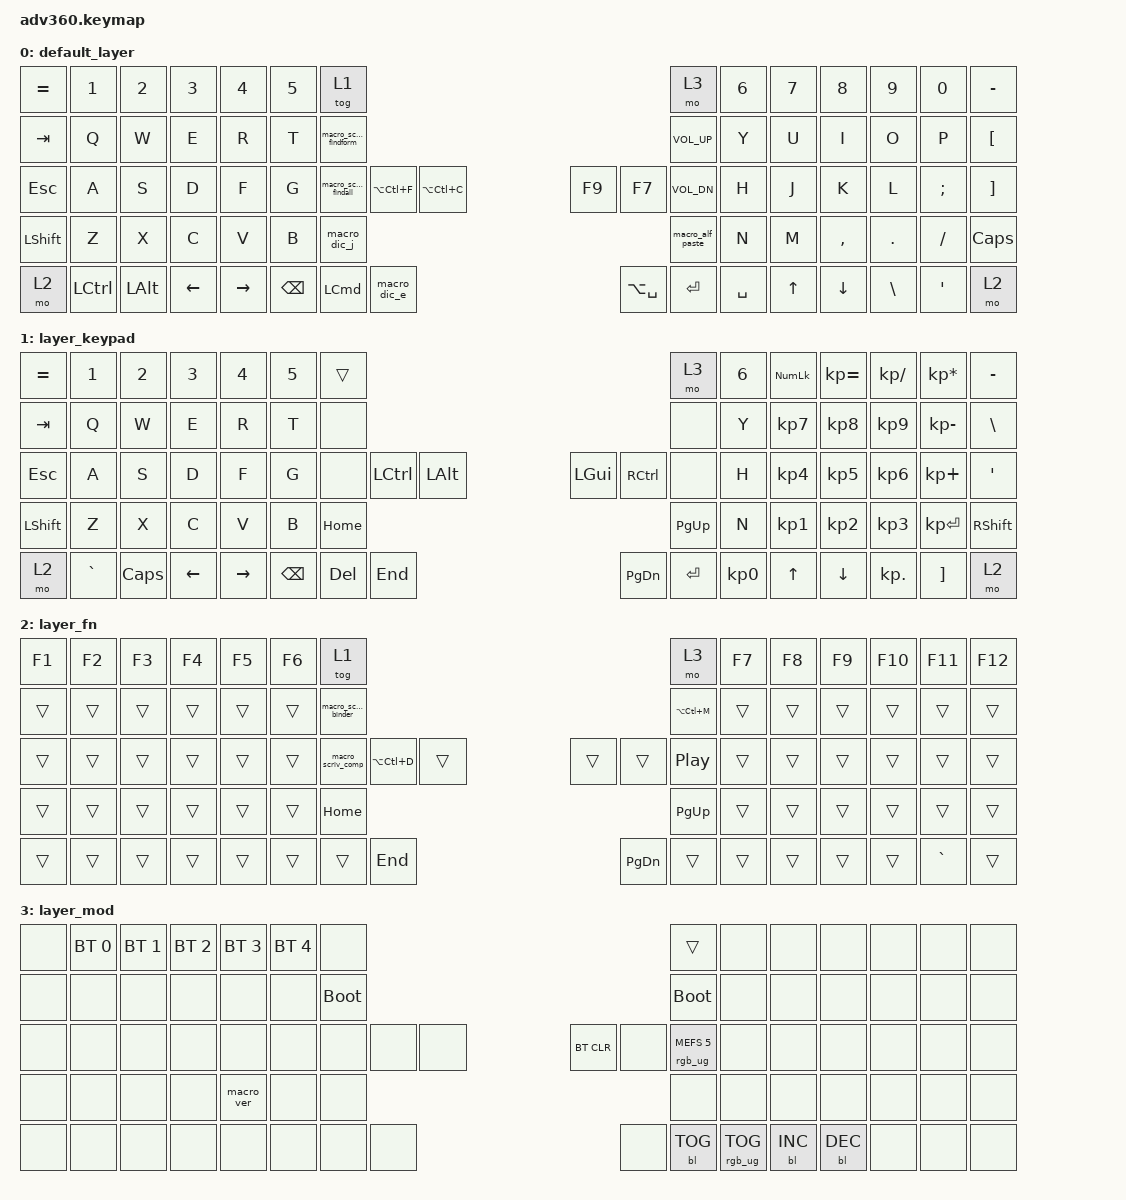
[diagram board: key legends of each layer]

/*
 * Copyright (c) 2020 The ZMK Contributors
 *
 * SPDX-License-Identifier: MIT
 */


/* THIS FILE WAS GENERATED!
 *
 * This file was generated automatically. You may or may not want to
 * edit it directly.
 */

#include <behaviors.dtsi>
#include <dt-bindings/zmk/keys.h>
#include <dt-bindings/zmk/bt.h>
#include <dt-bindings/zmk/rgb.h>
#include <dt-bindings/zmk/backlight.h>

/ {
  behaviors {
    #include "macros.dtsi"
    #include "version.dtsi"

    hm: homerow_mods {
        compatible = "zmk,behavior-hold-tap";
        label = "HOMEROW_MODS";
        #binding-cells = <2>;
        tapping-term-ms = <200>;
        quick_tap_ms = <175>;
        flavor = "tap-preferred";
        bindings = <&kp>, <&kp>;
    };
  };

    keymap {
        compatible = "zmk,keymap";


        default_layer {
            bindings = <
 &kp EQUAL            &kp N1        &kp N2    &kp N3     &kp N4  &kp N5                           &tog 1                                                                                       &mo 3  &kp N6  &kp N7     &kp N8         &kp N9            &kp N0          &kp MINUS
   &kp TAB             &kp Q         &kp W     &kp E      &kp R   &kp T            &macro_scriv_findform                                                                                &kp C_VOL_UP   &kp Y   &kp U      &kp I          &kp O             &kp P   &kp LEFT_BRACKET
   &kp ESC             &kp A         &kp S     &kp D      &kp F   &kp G             &macro_scriv_findall     &kp LA(LC(F))  &kp LA(LC(C))                            &kp F9     &kp F7  &kp C_VOL_DN   &kp H   &kp J      &kp K          &kp L          &kp SEMI  &kp RIGHT_BRACKET
 &kp LSHFT             &kp Z         &kp X     &kp C      &kp V   &kp B                                                      &macro_dic_j                  &macro_alf_paste                            &kp N   &kp M  &kp COMMA        &kp DOT          &kp FSLH           &kp CAPS
     &mo 2  &kp LEFT_CONTROL  &kp LEFT_ALT  &kp LEFT  &kp RIGHT                                 &kp BSPC  &kp LEFT_COMMAND   &macro_dic_e                     &kp LA(SPACE)  &kp ENTER     &kp SPACE          &kp UP   &kp DOWN  &kp BACKSLASH  &kp SINGLE_QUOTE              &mo 2
            >;
        };

        layer_keypad {
            bindings = <
 &kp EQUAL     &kp N1    &kp N2    &kp N3     &kp N4  &kp N5              &trans                                                                 &mo 3  &kp N6  &kp KP_NUM  &kp KP_EQUAL  &kp KP_DIVIDE  &kp KP_MULTIPLY  &kp MINUS
   &kp TAB      &kp Q     &kp W     &kp E      &kp R   &kp T               &none                                                                 &none   &kp Y   &kp KP_N7     &kp KP_N8      &kp KP_N9     &kp KP_MINUS   &kp BSLH
   &kp ESC      &kp A     &kp S     &kp D      &kp F   &kp G               &none  &kp LCTRL  &kp LALT                   &kp LGUI  &kp RCTRL      &none   &kp H   &kp KP_N4     &kp KP_N5      &kp KP_N6      &kp KP_PLUS    &kp SQT
 &kp LSHFT      &kp Z     &kp X     &kp C      &kp V   &kp B                                 &kp HOME                  &kp PG_UP                         &kp N   &kp KP_N1     &kp KP_N2      &kp KP_N3     &kp KP_ENTER  &kp RSHFT
     &mo 2  &kp GRAVE  &kp CAPS  &kp LEFT  &kp RIGHT                    &kp BSPC    &kp DEL   &kp END                  &kp PG_DN  &kp ENTER  &kp KP_N0              &kp UP      &kp DOWN     &kp KP_DOT         &kp RBKT      &mo 2
            >;
        };

        layer_fn {
            bindings = <
 &kp F1  &kp F2  &kp F3  &kp F4  &kp F5  &kp F6                         &tog 1                                                                        &mo 3  &kp F7  &kp F8  &kp F9  &kp F10    &kp F11  &kp F12
 &trans  &trans  &trans  &trans  &trans  &trans            &macro_scriv_binder                                                                &kp LA(LC(M))  &trans  &trans  &trans   &trans     &trans   &trans
 &trans  &trans  &trans  &trans  &trans  &trans              &macro_scriv_comp  &kp LA(LC(D))    &trans                       &trans  &trans       &kp C_PP  &trans  &trans  &trans   &trans     &trans   &trans
 &trans  &trans  &trans  &trans  &trans  &trans                                                &kp HOME                  &kp PAGE_UP                         &trans  &trans  &trans   &trans     &trans   &trans
 &trans  &trans  &trans  &trans  &trans                                 &trans         &trans   &kp END                    &kp PG_DN  &trans         &trans          &trans  &trans   &trans  &kp GRAVE   &trans
            >;
        };

        layer_mod {
            bindings = <
  &none  &bt BT_SEL 0  &bt BT_SEL 1  &bt BT_SEL 2  &bt BT_SEL 3  &bt BT_SEL 4                  &none                                                                          &trans   &none       &none       &none   &none   &none   &none
  &none         &none         &none         &none         &none         &none            &bootloader                                                                     &bootloader   &none       &none       &none   &none   &none   &none
  &none         &none         &none         &none         &none         &none                  &none   &none   &none                  &bt BT_CLR       &none  &rgb_ug RGB_MEFS_CMD 5   &none       &none       &none   &none   &none   &none
  &none         &none         &none         &none    &macro_ver         &none                                  &none                       &none                                       &none       &none       &none   &none   &none   &none
  &none         &none         &none         &none         &none                                &none   &none   &none                       &none  &bl BL_TOG         &rgb_ug RGB_TOG          &bl BL_INC  &bl BL_DEC   &none   &none   &none
            >;
        };

    };
};
